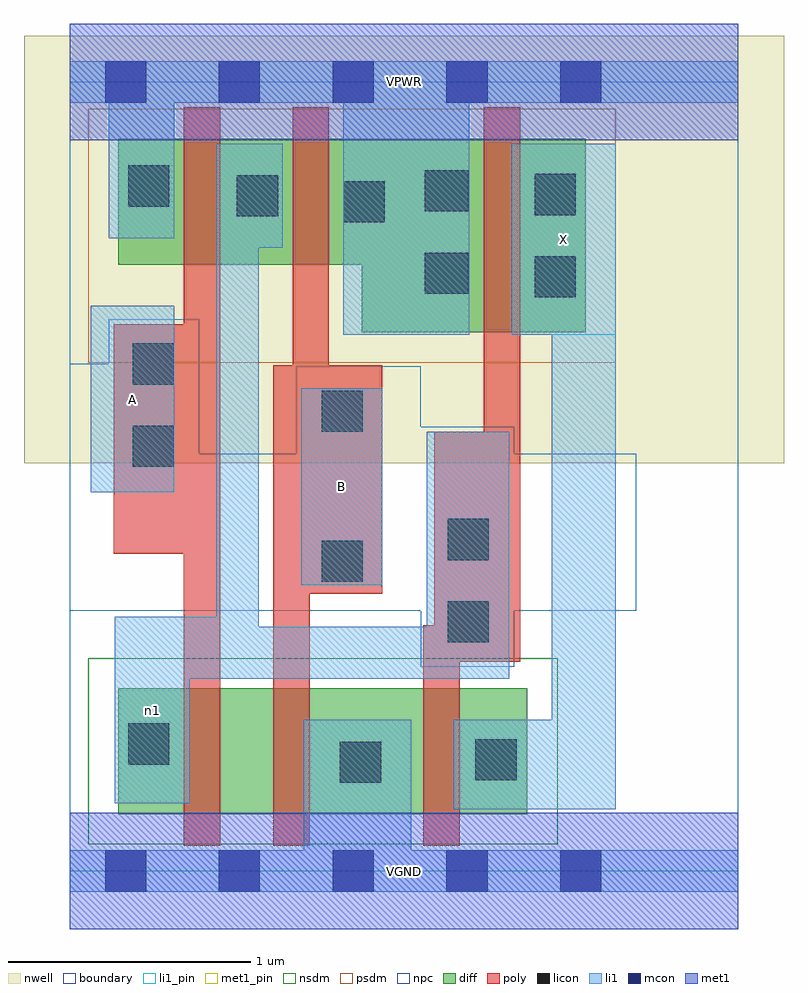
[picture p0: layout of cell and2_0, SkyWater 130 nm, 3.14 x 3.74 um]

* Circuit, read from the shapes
.subckt and2_0 A B VGND VPWR X n1
XM1 n2 A n1 VSUBS sky130_fd_pr__nfet_01v8 w=0.52 l=0.15
XM2 VGND B n2 VSUBS sky130_fd_pr__nfet_01v8 w=0.52 l=0.15
XM3 X n1 VGND VSUBS sky130_fd_pr__nfet_01v8 w=0.52 l=0.15
XM4 n1 A VPWR n3 sky130_fd_pr__pfet_01v8 w=0.52 l=0.15
XM5 VPWR B n1 n3 sky130_fd_pr__pfet_01v8 w=0.52 l=0.15
XM6 X n1 VPWR n3 sky130_fd_pr__pfet_01v8 w=0.8 l=0.15
.ends

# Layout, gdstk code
import gdstk
lib = gdstk.Library(unit=1e-6, precision=1e-09)
def R(c, l, rs):  # rectangles x0, y0, x1, y1
    for r in rs: c.add(gdstk.rectangle(r[:2], r[2:], *l))
def A(c, l, x, y, w, h, nx, ny, dx, dy):  # array of equal rectangles
    R(c, l, [(x+i*dx, y+j*dy, x+i*dx+w, y+j*dy+h) for i in range(nx) for j in range(ny)])
nwell = (64, 20)
diff = (65, 20)
poly = (66, 20)
licon = (66, 44)
li1_pin = (67, 16)
li1 = (67, 20)
mcon = (67, 44)
met1_pin = (68, 16)
met1 = (68, 20)
nsdm = (93, 44)
psdm = (94, 20)
npc = (95, 20)
boundary = (235, 4)

and2_0 = lib.new_cell('and2_0')
R(and2_0, nwell, [(-0.19,1.685,2.95,3.45), (0,1.685,2.76,3.45)])
R(and2_0, diff, [(0.2,0.235,1.89,0.755), (1.205,2.225,2.13,3.025), (0.2,2.505,2.13,3.025)])
R(and2_0, poly, [(0.47,0.105,0.62,3.155), (0.84,0.105,0.99,2.09), (1.46,0.105,1.61,1.015), (1.505,0.865,1.71,1.815), (1.71,0.865,1.86,3.155), (0.84,1.145,1.29,2.09), (0.92,1.145,1.07,3.155), (0.18,1.31,0.62,2.26)])
R(and2_0, licon, [(1.115,0.365,1.285,0.535), (1.675,0.375,1.845,0.545), (0.24,0.44,0.41,0.61), (1.56,0.945,1.73,1.115), (1.04,1.195,1.21,1.365), (1.56,1.285,1.73,1.455), (0.26,1.67,0.43,1.84), (1.04,1.815,1.21,1.985), (0.26,2.01,0.43,2.18), (1.92,2.37,2.09,2.54), (1.465,2.385,1.635,2.555), (1.475,2.385,1.645,2.555), (1.13,2.68,1.3,2.85), (0.69,2.705,0.86,2.875), (1.92,2.71,2.09,2.88), (1.465,2.725,1.635,2.895), (1.475,2.725,1.645,2.895), (0.24,2.745,0.41,2.915)])
R(and2_0, li1_pin, [(0.955,1.18,1.29,1.995), (0.085,1.565,0.43,2.335), (1.825,2.215,2.255,3.005)])
R(and2_0, li1, [(0,-0.085,2.76,0.085), (0.965,-0.085,1.41,0.625), (1.585,0.255,2.255,0.625), (1.99,0.255,2.255,3.005), (0.185,0.28,0.495,1.05), (0.185,0.795,1.815,1.01), (0.185,0.795,0.78,1.05), (0.605,0.795,0.78,3.005), (1.475,0.795,1.815,1.815), (0.955,1.18,1.29,1.995), (0.085,1.565,0.43,2.335), (1.13,2.215,1.65,3.345), (1.825,2.215,2.255,3.005), (0.605,2.575,0.88,3.005), (0.16,2.615,0.43,3.345), (0,3.175,2.76,3.345)])
A(and2_0, mcon, 0.145, -0.085, 0.17, 0.17, 5, 2, 0.47, 3.26)
R(and2_0, met1_pin, [(0,-0.24,2.76,0.24), (0,3.02,2.76,3.5)])
R(and2_0, met1, [(0,-0.24,2.76,0.24), (0,3.02,2.76,3.5)])
R(and2_0, nsdm, [(0.075,0.11,2.015,0.88)])
R(and2_0, psdm, [(0.075,2.1,2.255,3.15)])
R(and2_0, npc, [(1.45,0.845,1.835,1.835), (0,1.075,2.34,1.725), (0,1.075,0.535,2.095), (0.16,1.075,0.535,2.28), (0.935,1.075,1.45,2.085)])
R(and2_0, boundary, [(0,0,2.76,3.26)])
and2_0.add(gdstk.Label('A', (0.257,1.95), layer=67, texttype=5))
and2_0.add(gdstk.Label('B', (1.122,1.587), layer=67, texttype=5))
and2_0.add(gdstk.Label('X', (2.04,2.61), layer=67, texttype=5))
and2_0.add(gdstk.Label('n1', (0.34,0.665), layer=67, texttype=5))
and2_0.add(gdstk.Label('VPWR', (1.38,3.26), layer=68, texttype=5))
and2_0.add(gdstk.Label('VGND', (1.38,0), layer=68, texttype=5))
and2_0.add(gdstk.Label('A', (0.257,1.95), layer=67, texttype=16))
and2_0.add(gdstk.Label('B', (1.122,1.587), layer=67, texttype=16))
and2_0.add(gdstk.Label('X', (2.04,2.61), layer=67, texttype=16))
and2_0.add(gdstk.Label('VPWR', (1.38,3.26), layer=68, texttype=16))
and2_0.add(gdstk.Label('VGND', (1.38,0), layer=68, texttype=16))

lib.write_gds('and2_0.gds')
